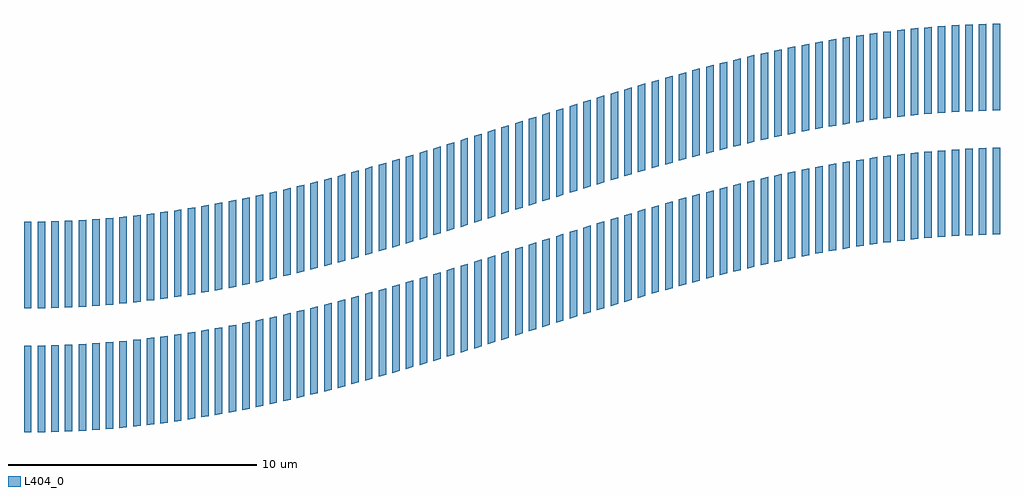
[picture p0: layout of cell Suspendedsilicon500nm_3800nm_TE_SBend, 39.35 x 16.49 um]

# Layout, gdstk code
import gdstk
lib = gdstk.Library(unit=1e-6, precision=1e-09)
def R(c, l, rs):  # rectangles x0, y0, x1, y1
    for r in rs: c.add(gdstk.rectangle(r[:2], r[2:], *l))
def P(c, l, *ps):  # polygons
    for p in ps: c.add(gdstk.Polygon(p, *l))
L404_0 = (404, 0)

suspendedsilicon500nm_38 = lib.new_cell('Suspendedsilicon500nm_3800nm_TE_SBend')
R(suspendedsilicon500nm_38, L404_0, [(0,0.75,0.3,4.25)])
P(suspendedsilicon500nm_38, L404_0, [(39.05,3.73),(39.05,7.23),(39.35,7.239),(39.35,3.739)],
  [(38.5,3.712),(38.5,7.212),(38.8,7.222),(38.8,3.722)],
  [(37.95,3.694),(37.95,7.194),(38.25,7.204),(38.25,3.704)],
  [(37.4,3.658),(37.4,7.158),(37.7,7.18),(37.7,3.68)],
  [(36.85,3.617),(36.85,7.117),(37.15,7.139),(37.15,3.639)],
  [(36.3,3.576),(36.3,7.076),(36.6,7.098),(36.6,3.598)],
  [(35.75,3.518),(35.75,7.018),(36.05,7.053),(36.05,3.553)],
  [(35.2,3.455),(35.2,6.955),(35.5,6.99),(35.5,3.49)],
  [(34.65,3.392),(34.65,6.892),(34.95,6.926),(34.95,3.426)],
  [(34.1,3.314),(34.1,6.814),(34.4,6.86),(34.4,3.36)],
  [(33.55,3.231),(33.55,6.731),(33.85,6.776),(33.85,3.276)],
  [(33,3.148),(33,6.648),(33.3,6.693),(33.3,3.193)],
  [(32.45,3.05),(32.45,6.55),(32.75,6.605),(32.75,3.105)],
  [(31.9,2.948),(31.9,6.448),(32.2,6.503),(32.2,3.003)],
  [(31.35,2.845),(31.35,6.345),(31.65,6.401),(31.65,2.901)],
  [(30.8,2.729),(30.8,6.229),(31.1,6.293),(31.1,2.793)],
  [(30.25,2.61),(30.25,6.11),(30.55,6.175),(30.55,2.675)],
  [(29.7,2.49),(29.7,5.99),(30,6.057),(30,2.557)],
  [(29.15,2.358),(29.15,5.858),(29.45,5.93),(29.45,2.43)],
  [(28.6,2.225),(28.6,5.725),(28.9,5.797),(28.9,2.297)],
  [(28.05,2.087),(28.05,5.587),(28.35,5.664),(28.35,2.164)],
  [(27.5,1.943),(27.5,5.443),(27.8,5.522),(27.8,2.022)],
  [(26.95,1.798),(26.95,5.298),(27.25,5.377),(27.25,1.877)],
  [(26.4,1.646),(26.4,5.146),(26.7,5.23),(26.7,1.73)],
  [(25.85,1.491),(25.85,4.991),(26.15,5.075),(26.15,1.575)],
  [(25.3,1.335),(25.3,4.835),(25.6,4.921),(25.6,1.421)],
  [(24.75,1.173),(24.75,4.673),(25.05,4.762),(25.05,1.262)],
  [(24.2,1.011),(24.2,4.511),(24.5,4.599),(24.5,1.099)],
  [(23.65,0.845),(23.65,4.345),(23.95,4.437),(23.95,0.937)],
  [(23.1,0.678),(23.1,4.178),(23.4,4.269),(23.4,0.769)],
  [(22.55,0.509),(22.55,4.009),(22.85,4.101),(22.85,0.601)],
  [(17.05,3.865),(17.05,7.365),(17.35,7.458),(17.35,3.958)],
  [(16.5,3.698),(16.5,7.198),(16.8,7.289),(16.8,3.789)],
  [(15.95,3.531),(15.95,7.031),(16.25,7.122),(16.25,3.622)],
  [(15.4,3.369),(15.4,6.869),(15.7,6.957),(15.7,3.457)],
  [(14.85,3.206),(14.85,6.706),(15.15,6.794),(15.15,3.294)],
  [(14.3,3.049),(14.3,6.549),(14.6,6.635),(14.6,3.135)],
  [(13.75,2.893),(13.75,6.393),(14.05,6.478),(14.05,2.978)],
  [(13.2,2.742),(13.2,6.242),(13.5,6.324),(13.5,2.824)],
  [(12.65,2.592),(12.65,6.092),(12.95,6.173),(12.95,2.673)],
  [(12.1,2.449),(12.1,5.949),(12.4,6.027),(12.4,2.527)],
  [(11.55,2.309),(11.55,5.809),(11.85,5.884),(11.85,2.384)],
  [(11,2.174),(11,5.674),(11.3,5.748),(11.3,2.248)],
  [(10.45,2.044),(10.45,5.544),(10.75,5.613),(10.75,2.113)],
  [(9.9,1.917),(9.9,5.417),(10.2,5.486),(10.2,1.986)],
  [(9.35,1.798),(9.35,5.298),(9.65,5.363),(9.65,1.863)],
  [(8.8,1.683),(8.8,5.183),(9.1,5.244),(9.1,1.744)],
  [(8.25,1.574),(8.25,5.074),(8.55,5.134),(8.55,1.634)],
  [(7.7,1.472),(7.7,4.972),(8,5.027),(8,1.527)],
  [(7.15,1.375),(7.15,4.875),(7.45,4.926),(7.45,1.426)],
  [(6.6,1.284),(6.6,4.784),(6.9,4.833),(6.9,1.333)],
  [(6.05,1.2),(6.05,4.7),(6.35,4.746),(6.35,1.246)],
  [(5.5,1.124),(5.5,4.624),(5.8,4.665),(5.8,1.165)],
  [(4.95,1.054),(4.95,4.554),(5.25,4.591),(5.25,1.091)],
  [(4.4,0.991),(4.4,4.491),(4.7,4.524),(4.7,1.024)],
  [(3.85,0.934),(3.85,4.434),(4.15,4.464),(4.15,0.964)],
  [(3.3,0.886),(3.3,4.386),(3.6,4.411),(3.6,0.911)],
  [(2.75,0.844),(2.75,4.344),(3.05,4.366),(3.05,0.866)],
  [(2.2,0.81),(2.2,4.31),(2.5,4.327),(2.5,0.827)],
  [(1.65,0.783),(1.65,4.283),(1.95,4.297),(1.95,0.797)],
  [(1.1,0.765),(1.1,4.265),(1.4,4.274),(1.4,0.774)],
  [(0.55,0.753),(0.55,4.253),(0.85,4.258),(0.85,0.758)],
  [(22,5.41),(22,8.91),(22.3,9.003),(22.3,5.503)],
  [(21.45,5.239),(21.45,8.739),(21.75,8.832),(21.75,5.332)],
  [(20.9,5.068),(20.9,8.568),(21.2,8.661),(21.2,5.161)],
  [(20.35,4.895),(20.35,8.395),(20.65,8.489),(20.65,4.989)],
  [(19.8,4.722),(19.8,8.222),(20.1,8.316),(20.1,4.816)],
  [(30.8,7.763),(30.8,11.263),(31.1,11.325),(31.1,7.825)],
  [(39.05,8.73),(39.05,12.23),(39.35,12.24),(39.35,8.74)],
  [(30.25,7.645),(30.25,11.145),(30.55,11.209),(30.55,7.709)],
  [(34.65,8.402),(34.65,11.902),(34.95,11.936),(34.95,8.436)],
  [(29.7,7.526),(29.7,11.026),(30,11.091),(30,7.591)],
  [(36.85,8.62),(36.85,12.12),(37.15,12.143),(37.15,8.643)],
  [(29.15,7.4),(29.15,10.9),(29.45,10.972),(29.45,7.472)],
  [(34.1,8.331),(34.1,11.831),(34.4,11.873),(34.4,8.373)],
  [(28.6,7.268),(28.6,10.768),(28.9,10.84),(28.9,7.34)],
  [(37.95,8.695),(37.95,12.195),(38.25,12.204),(38.25,8.704)],
  [(28.05,7.135),(28.05,10.635),(28.35,10.707),(28.35,7.207)],
  [(33.55,8.248),(33.55,11.748),(33.85,11.793),(33.85,8.293)],
  [(27.5,6.993),(27.5,10.493),(27.8,10.572),(27.8,7.072)],
  [(36.3,8.579),(36.3,12.079),(36.6,12.102),(36.6,8.602)],
  [(26.95,6.849),(26.95,10.349),(27.25,10.428),(27.25,6.928)],
  [(33,8.165),(33,11.665),(33.3,11.71),(33.3,8.21)],
  [(26.4,6.704),(26.4,10.204),(26.7,10.283),(26.7,6.783)],
  [(38.5,8.712),(38.5,12.212),(38.8,12.222),(38.8,8.722)],
  [(25.85,6.549),(25.85,10.049),(26.15,10.134),(26.15,6.634)],
  [(32.45,8.075),(32.45,11.575),(32.75,11.627),(32.75,8.127)],
  [(25.3,6.395),(25.3,9.895),(25.6,9.979),(25.6,6.479)],
  [(35.75,8.528),(35.75,12.028),(36.05,12.061),(36.05,8.561)],
  [(24.75,6.237),(24.75,9.737),(25.05,9.824),(25.05,6.324)],
  [(31.9,7.973),(31.9,11.473),(32.2,11.529),(32.2,8.029)],
  [(24.2,6.075),(24.2,9.575),(24.5,9.663),(24.5,6.163)],
  [(37.4,8.662),(37.4,12.162),(37.7,12.184),(37.7,8.684)],
  [(23.65,5.913),(23.65,9.413),(23.95,9.501),(23.95,6.001)],
  [(31.35,7.871),(31.35,11.371),(31.65,11.427),(31.65,7.927)],
  [(23.1,5.746),(23.1,9.246),(23.4,9.338),(23.4,5.838)],
  [(35.2,8.465),(35.2,11.965),(35.5,11.999),(35.5,8.499)],
  [(22.55,5.579),(22.55,9.079),(22.85,9.17),(22.85,5.67)],
  [(17.6,4.035),(17.6,7.535),(17.9,7.628),(17.9,4.128)],
  [(19.25,4.55),(19.25,8.05),(19.55,8.144),(19.55,4.644)],
  [(18.7,4.377),(18.7,7.877),(19,7.971),(19,4.471)],
  [(18.15,4.206),(18.15,7.706),(18.45,7.799),(18.45,4.299)],
  [(17.05,-1.203),(17.05,2.297),(17.35,2.389),(17.35,-1.111)],
  [(9.35,-3.236),(9.35,0.264),(9.65,0.329),(9.65,-3.171)],
  [(14.3,-2.011),(14.3,1.489),(14.6,1.574),(14.6,-1.926)],
  [(8.8,-3.346),(8.8,0.154),(9.1,0.214),(9.1,-3.286)],
  [(18.15,-0.865),(18.15,2.635),(18.45,2.728),(18.45,-0.772)],
  [(8.25,-3.452),(8.25,0.048),(8.55,0.104),(8.55,-3.396)],
  [(13.75,-2.163),(13.75,1.337),(14.05,1.419),(14.05,-2.081)],
  [(7.7,-3.551),(7.7,-0.051),(8,0.003),(8,-3.497)],
  [(16.5,-1.37),(16.5,2.13),(16.8,2.221),(16.8,-1.279)],
  [(7.15,-3.644),(7.15,-0.144),(7.45,-0.093),(7.45,-3.593)],
  [(13.2,-2.314),(13.2,1.186),(13.5,1.268),(13.5,-2.232)],
  [(6.6,-3.731),(6.6,-0.231),(6.9,-0.185),(6.9,-3.685)],
  [(18.7,-0.694),(18.7,2.806),(19,2.9),(19,-0.6)],
  [(6.05,-3.812),(6.05,-0.312),(6.35,-0.269),(6.35,-3.769)],
  [(12.65,-2.458),(12.65,1.042),(12.95,1.121),(12.95,-2.379)],
  [(5.5,-3.888),(5.5,-0.388),(5.8,-0.347),(5.8,-3.847)],
  [(15.95,-1.533),(15.95,1.967),(16.25,2.056),(16.25,-1.444)],
  [(4.95,-3.955),(4.95,-0.455),(5.25,-0.418),(5.25,-3.918)],
  [(12.1,-2.6),(12.1,0.9),(12.4,0.977),(12.4,-2.523)],
  [(4.4,-4.016),(4.4,-0.516),(4.7,-0.483),(4.7,-3.983)],
  [(17.6,-1.035),(17.6,2.465),(17.9,2.558),(17.9,-0.942)],
  [(3.85,-4.07),(3.85,-0.57),(4.15,-0.542),(4.15,-4.042)],
  [(11.55,-2.736),(11.55,0.764),(11.85,0.838),(11.85,-2.662)],
  [(3.3,-4.117),(3.3,-0.617),(3.6,-0.593),(3.6,-4.093)],
  [(15.4,-1.696),(15.4,1.804),(15.7,1.893),(15.7,-1.607)],
  [(2.75,-4.157),(2.75,-0.657),(3.05,-0.636),(3.05,-4.136)],
  [(11,-2.869),(11,0.631),(11.3,0.703),(11.3,-2.797)],
  [(2.2,-4.19),(2.2,-0.69),(2.5,-0.673),(2.5,-4.173)],
  [(19.25,-0.522),(19.25,2.978),(19.55,3.072),(19.55,-0.428)],
  [(1.65,-4.216),(1.65,-0.716),(1.95,-0.703),(1.95,-4.203)],
  [(10.45,-2.996),(10.45,0.504),(10.75,0.574),(10.75,-2.926)],
  [(1.1,-4.234),(1.1,-0.734),(1.4,-0.725),(1.4,-4.225)],
  [(14.85,-1.854),(14.85,1.646),(15.15,1.732),(15.15,-1.768)],
  [(0.55,-4.246),(0.55,-0.746),(0.85,-0.74),(0.85,-4.24)],
  [(9.9,-3.117),(9.9,0.383),(10.2,0.447),(10.2,-3.053)],
  [(0,-4.249),(0,-0.749),(0.3,-0.748),(0.3,-4.248)],
  [(20.35,-0.177),(20.35,3.323),(20.65,3.417),(20.65,-0.083)],
  [(22,0.339),(22,3.839),(22.3,3.932),(22.3,0.432)],
  [(19.8,-0.35),(19.8,3.15),(20.1,3.244),(20.1,-0.256)],
  [(20.9,-0.004),(20.9,3.496),(21.2,3.59),(21.2,0.09)],
  [(21.45,0.168),(21.45,3.668),(21.75,3.761),(21.75,0.261)])

lib.write_gds('Suspendedsilicon500nm_3800nm_TE_SBend.gds')
